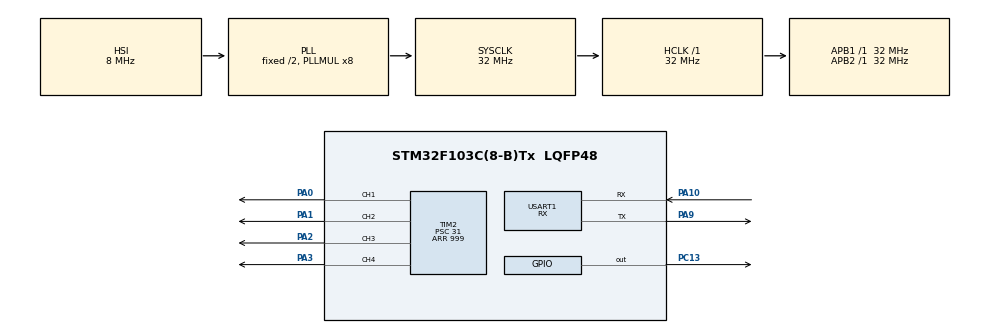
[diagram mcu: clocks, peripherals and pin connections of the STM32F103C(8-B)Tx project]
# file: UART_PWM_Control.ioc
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Dma.Request0=USART1_RX
Dma.USART1_RX.0.Direction=DMA_PERIPH_TO_MEMORY
Dma.USART1_RX.0.Instance=DMA1_Channel5
Dma.USART1_RX.0.MemDataAlignment=DMA_MDATAALIGN_BYTE
Dma.USART1_RX.0.MemInc=DMA_MINC_ENABLE
Dma.USART1_RX.0.Mode=DMA_NORMAL
Dma.USART1_RX.0.PeriphDataAlignment=DMA_PDATAALIGN_BYTE
Dma.USART1_RX.0.PeriphInc=DMA_PINC_DISABLE
Dma.USART1_RX.0.Priority=DMA_PRIORITY_LOW
Mcu.Family=STM32F1
Mcu.Name=STM32F103C(8-B)Tx
Mcu.Package=LQFP48
NVIC.DMA1_Channel5_IRQn=true\:0\:0\:false\:false\:true\:false\:true
NVIC.PriorityGroup=NVIC_PRIORITYGROUP_4
NVIC.USART1_IRQn=true\:0\:0\:false\:false\:true\:true\:true
PA0-WKUP.Signal=S_TIM2_CH1_ETR
PA1.Signal=S_TIM2_CH2
PA10.Mode=Asynchronous
PA10.Signal=USART1_RX
PA13.Mode=Serial_Wire
PA13.Signal=SYS_JTMS-SWDIO
PA14.Mode=Serial_Wire
PA14.Signal=SYS_JTCK-SWCLK
PA2.Signal=S_TIM2_CH3
PA3.Signal=S_TIM2_CH4
PA9.Mode=Asynchronous
PA9.Signal=USART1_TX
PC13-TAMPER-RTC.Signal=GPIO_Output
PD0-OSC_IN.Mode=HSE-External-Oscillator
PD0-OSC_IN.Signal=RCC_OSC_IN
PD1-OSC_OUT.Mode=HSE-External-Oscillator
PD1-OSC_OUT.Signal=RCC_OSC_OUT
ProjectManager.HeapSize=0x200
ProjectManager.StackSize=0x400
ProjectManager.TargetToolchain=MDK-ARM V5.27
RCC.AHBFreq_Value=32000000
RCC.APB1Freq_Value=32000000
RCC.APB1TimFreq_Value=32000000
RCC.APB2Freq_Value=32000000
RCC.APB2TimFreq_Value=32000000
RCC.HCLKFreq_Value=32000000
RCC.PLLMUL=RCC_PLL_MUL8
RCC.SYSCLKFreq_VALUE=32000000
RCC.SYSCLKSource=RCC_SYSCLKSOURCE_PLLCLK
RCC.USBFreq_Value=32000000
SH.S_TIM2_CH1_ETR.0=TIM2_CH1,PWM Generation1 CH1
SH.S_TIM2_CH2.0=TIM2_CH2,PWM Generation2 CH2
SH.S_TIM2_CH3.0=TIM2_CH3,PWM Generation3 CH3
SH.S_TIM2_CH4.0=TIM2_CH4,PWM Generation4 CH4
TIM2.Channel-PWM\ Generation1\ CH1=TIM_CHANNEL_1
TIM2.Channel-PWM\ Generation2\ CH2=TIM_CHANNEL_2
TIM2.Channel-PWM\ Generation3\ CH3=TIM_CHANNEL_3
TIM2.Channel-PWM\ Generation4\ CH4=TIM_CHANNEL_4
TIM2.Period=999
TIM2.Prescaler=31
USART1.Mode=MODE_RX
USART1.VirtualMode=VM_ASYNC
board=custom

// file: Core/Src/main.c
/* USER CODE BEGIN Header */
/**
  ******************************************************************************
  * @file           : main.c
  * @brief          : Main program body
  ******************************************************************************
  * @attention
  *
  * <h2><center>&copy; Copyright (c) 2021 STMicroelectronics.
  * All rights reserved.</center></h2>
  *
  * This software component is licensed by ST under BSD 3-Clause license,
  * the "License"; You may not use this file except in compliance with the
  * License. You may obtain a copy of the License at:
  *                        opensource.org/licenses/BSD-3-Clause
  *
  ******************************************************************************
  */
/* USER CODE END Header */
#include "main.h"
#include "fuzzy_ctrl.h"
/* USER CODE BEGIN Includes */
volatile int distance, thetal;

int uk_motor_right, uk_motor_left;

uint8_t data[13] = {0,0,0,0,0,0,0,0,0,0,0,0,0};

/* USER CODE END Includes */

TIM_HandleTypeDef htim2;

UART_HandleTypeDef huart1;
DMA_HandleTypeDef hdma_usart1_rx;

void SystemClock_Config(void);
static void MX_GPIO_Init(void);
static void MX_DMA_Init(void);
static void MX_TIM2_Init(void);
static void MX_USART1_UART_Init(void);

void PWM_generate(int motor_right, int motor_left);
int Value_receive(int index, uint8_t data[13]);

float PID_compute(float ref, float yk, float kp, float ki, float kd);

extern float data_hlt_d[5];
extern float data_hlt_phi[5];
//
extern float data_motorL[7];
extern float data_motorR[7];
//
extern float rule_motorL[25];
extern float rule_motorR[25];
//

extern float muy_d[5];
extern float muy_phi[5];
extern float beta[25];

int main(void)
{

  /* MCU Configuration--------------------------------------------------------*/

  /* Reset of all peripherals, Initializes the Flash interface and the Systick. */
  HAL_Init();

  /* Configure the system clock */
  SystemClock_Config();

  /* Initialize all configured peripherals */
  MX_GPIO_Init();
  MX_DMA_Init();
  MX_TIM2_Init();
  MX_USART1_UART_Init();
  /* USER CODE BEGIN 2 */

	HAL_TIM_PWM_Start(&htim2,TIM_CHANNEL_1);// bat che do PWM
	HAL_TIM_PWM_Start(&htim2,TIM_CHANNEL_2);
	HAL_TIM_PWM_Start(&htim2,TIM_CHANNEL_3);
	HAL_TIM_PWM_Start(&htim2,TIM_CHANNEL_4);

	for(int i = 0; i<13; i++) data[i] += 48;

  /* USER CODE END 2 */

  /* Infinite loop */
  /* USER CODE BEGIN WHILE */
	int temp = 0;
  while (1)
  {

    /* USER CODE END WHILE */

    /* USER CODE BEGIN 3 */
		temp++;
		if(temp == 20)
		{
			HAL_GPIO_TogglePin(GPIOC,GPIO_PIN_13);
			temp = 0;
		}

		//nhan data ve khi co du lieu
		HAL_UART_Receive_DMA(&huart1, data, 13);
		HAL_Delay(10);

		//compute distance and thetal
		distance = Value_receive(7, data);
		thetal = Value_receive(1, data);

		distance = -0.00062*distance*distance*distance + 0.16*distance*distance - 15*distance + 510;

		if(distance < 0) distance = 0;

		//fuzzy controller (uk_motor_left, uk_motor_right) = f(distance, thetal)
		value_hlt_d(data_hlt_d, muy_d, distance);
    value_hlt_phi(data_hlt_phi, muy_phi, thetal);

    find_beta(muy_d, muy_phi, beta);
    rule_fuzzy(rule_motorL, rule_motorR, data_motorL, data_motorR);

    uk_motor_left = 999*defuzzy_motorL(beta, rule_motorL);
    uk_motor_right = 999*defuzzy_motorR(beta, rule_motorR);

		// pulse PWM
		if(distance>240)	PWM_generate(0, 0);
		else PWM_generate(uk_motor_right, uk_motor_left);

	}
  /* USER CODE END 3 */
}

int Value_receive(int index, uint8_t data[13])
{
	volatile int value =(data[index+1]-48)*1000 + (data[index+2]-48)*100 + (data[index+3]-48)*10 + (data[index+4]-48);
	if(value>1000) value = 0;
	if((data[index]-48) == 0)	value = value;
	else	value = -value;
	return value;
}

void PWM_generate(int motor_right, int motor_left)
{
	//motor left
	if(motor_left > 999) motor_left = 999;
	else if(motor_left < -999) motor_left = -999;

	if(motor_left > 0)
	{
	__HAL_TIM_SET_COMPARE(&htim2,TIM_CHANNEL_2,motor_left);
	__HAL_TIM_SET_COMPARE(&htim2,TIM_CHANNEL_1,0);
	}
	else if(motor_left < 0)
	{
		__HAL_TIM_SET_COMPARE(&htim2,TIM_CHANNEL_2,0);
		__HAL_TIM_SET_COMPARE(&htim2,TIM_CHANNEL_1,-motor_left);
	}
	else
	{
		__HAL_TIM_SET_COMPARE(&htim2,TIM_CHANNEL_2,0);
		__HAL_TIM_SET_COMPARE(&htim2,TIM_CHANNEL_1,0);
	}

	//motor right
	if(motor_left > 999) motor_left = 999;
	else if(motor_left < -999) motor_left = -999;

	if(motor_right > 0)
	{
		__HAL_TIM_SET_COMPARE(&htim2,TIM_CHANNEL_3,motor_right);
		__HAL_TIM_SET_COMPARE(&htim2,TIM_CHANNEL_4,0);
	}
	else if(motor_right < 0)
	{
		__HAL_TIM_SET_COMPARE(&htim2,TIM_CHANNEL_3,0);
		__HAL_TIM_SET_COMPARE(&htim2,TIM_CHANNEL_4,-motor_right);
	}
	else
	{
		__HAL_TIM_SET_COMPARE(&htim2,TIM_CHANNEL_3,0);
		__HAL_TIM_SET_COMPARE(&htim2,TIM_CHANNEL_4,0);
	}
}

void SystemClock_Config(void)
{
  RCC_OscInitTypeDef RCC_OscInitStruct = {0};
  RCC_ClkInitTypeDef RCC_ClkInitStruct = {0};

  /** Initializes the RCC Oscillators according to the specified parameters
  * in the RCC_OscInitTypeDef structure.
  */
  RCC_OscInitStruct.OscillatorType = RCC_OSCILLATORTYPE_HSI;
  RCC_OscInitStruct.HSIState = RCC_HSI_ON;
  RCC_OscInitStruct.HSICalibrationValue = RCC_HSICALIBRATION_DEFAULT;
  RCC_OscInitStruct.PLL.PLLState = RCC_PLL_ON;
  RCC_OscInitStruct.PLL.PLLSource = RCC_PLLSOURCE_HSI_DIV2;
  RCC_OscInitStruct.PLL.PLLMUL = RCC_PLL_MUL8;
  if (HAL_RCC_OscConfig(&RCC_OscInitStruct) != HAL_OK)
  {
    Error_Handler();
  }
  /** Initializes the CPU, AHB and APB buses clocks
  */
  RCC_ClkInitStruct.ClockType = RCC_CLOCKTYPE_HCLK|RCC_CLOCKTYPE_SYSCLK
                              |RCC_CLOCKTYPE_PCLK1|RCC_CLOCKTYPE_PCLK2;
  RCC_ClkInitStruct.SYSCLKSource = RCC_SYSCLKSOURCE_PLLCLK;
  RCC_ClkInitStruct.AHBCLKDivider = RCC_SYSCLK_DIV1;
  RCC_ClkInitStruct.APB1CLKDivider = RCC_HCLK_DIV1;
  RCC_ClkInitStruct.APB2CLKDivider = RCC_HCLK_DIV1;

  if (HAL_RCC_ClockConfig(&RCC_ClkInitStruct, FLASH_LATENCY_1) != HAL_OK)
  {
    Error_Handler();
  }
}

static void MX_TIM2_Init(void)
{

  TIM_MasterConfigTypeDef sMasterConfig = {0};
  TIM_OC_InitTypeDef sConfigOC = {0};

  htim2.Instance = TIM2;
  htim2.Init.Prescaler = 31;
  htim2.Init.CounterMode = TIM_COUNTERMODE_UP;
  htim2.Init.Period = 999;
  htim2.Init.ClockDivision = TIM_CLOCKDIVISION_DIV1;
  htim2.Init.AutoReloadPreload = TIM_AUTORELOAD_PRELOAD_DISABLE;
  if (HAL_TIM_PWM_Init(&htim2) != HAL_OK)
  {
    Error_Handler();
  }
  sMasterConfig.MasterOutputTrigger = TIM_TRGO_RESET;
  sMasterConfig.MasterSlaveMode = TIM_MASTERSLAVEMODE_DISABLE;
  if (HAL_TIMEx_MasterConfigSynchronization(&htim2, &sMasterConfig) != HAL_OK)
  {
    Error_Handler();
  }
  sConfigOC.OCMode = TIM_OCMODE_PWM1;
  sConfigOC.Pulse = 0;
  sConfigOC.OCPolarity = TIM_OCPOLARITY_HIGH;
  sConfigOC.OCFastMode = TIM_OCFAST_DISABLE;
  if (HAL_TIM_PWM_ConfigChannel(&htim2, &sConfigOC, TIM_CHANNEL_1) != HAL_OK)
  {
    Error_Handler();
  }
  if (HAL_TIM_PWM_ConfigChannel(&htim2, &sConfigOC, TIM_CHANNEL_2) != HAL_OK)
  {
    Error_Handler();
  }
  if (HAL_TIM_PWM_ConfigChannel(&htim2, &sConfigOC, TIM_CHANNEL_3) != HAL_OK)
  {
    Error_Handler();
  }
  if (HAL_TIM_PWM_ConfigChannel(&htim2, &sConfigOC, TIM_CHANNEL_4) != HAL_OK)
  {
    Error_Handler();
  }
  HAL_TIM_MspPostInit(&htim2);

}

static void MX_USART1_UART_Init(void)
{

  huart1.Instance = USART1;
  huart1.Init.BaudRate = 115200;
  huart1.Init.WordLength = UART_WORDLENGTH_8B;
  huart1.Init.StopBits = UART_STOPBITS_1;
  huart1.Init.Parity = UART_PARITY_NONE;
  huart1.Init.Mode = UART_MODE_RX;
  huart1.Init.HwFlowCtl = UART_HWCONTROL_NONE;
  huart1.Init.OverSampling = UART_OVERSAMPLING_16;
  if (HAL_UART_Init(&huart1) != HAL_OK)
  {
    Error_Handler();
  }

}

static void MX_DMA_Init(void)
{

  /* DMA controller clock enable */
  __HAL_RCC_DMA1_CLK_ENABLE();

  /* DMA interrupt init */
  /* DMA1_Channel5_IRQn interrupt configuration */
  HAL_NVIC_SetPriority(DMA1_Channel5_IRQn, 0, 0);
  HAL_NVIC_EnableIRQ(DMA1_Channel5_IRQn);

}

static void MX_GPIO_Init(void)
{
  GPIO_InitTypeDef GPIO_InitStruct = {0};

  /* GPIO Ports Clock Enable */
  __HAL_RCC_GPIOC_CLK_ENABLE();
  __HAL_RCC_GPIOD_CLK_ENABLE();
  __HAL_RCC_GPIOA_CLK_ENABLE();

  /*Configure GPIO pin Output Level */
  HAL_GPIO_WritePin(GPIOC, GPIO_PIN_13, GPIO_PIN_RESET);

  /*Configure GPIO pin : PC13 */
  GPIO_InitStruct.Pin = GPIO_PIN_13;
  GPIO_InitStruct.Mode = GPIO_MODE_OUTPUT_PP;
  GPIO_InitStruct.Pull = GPIO_NOPULL;
  GPIO_InitStruct.Speed = GPIO_SPEED_FREQ_LOW;
  HAL_GPIO_Init(GPIOC, &GPIO_InitStruct);

}

void Error_Handler(void)
{
  __disable_irq();
  while (1)
  {
  }
}

/************************ (C) COPYRIGHT STMicroelectronics *****END OF FILE****/
